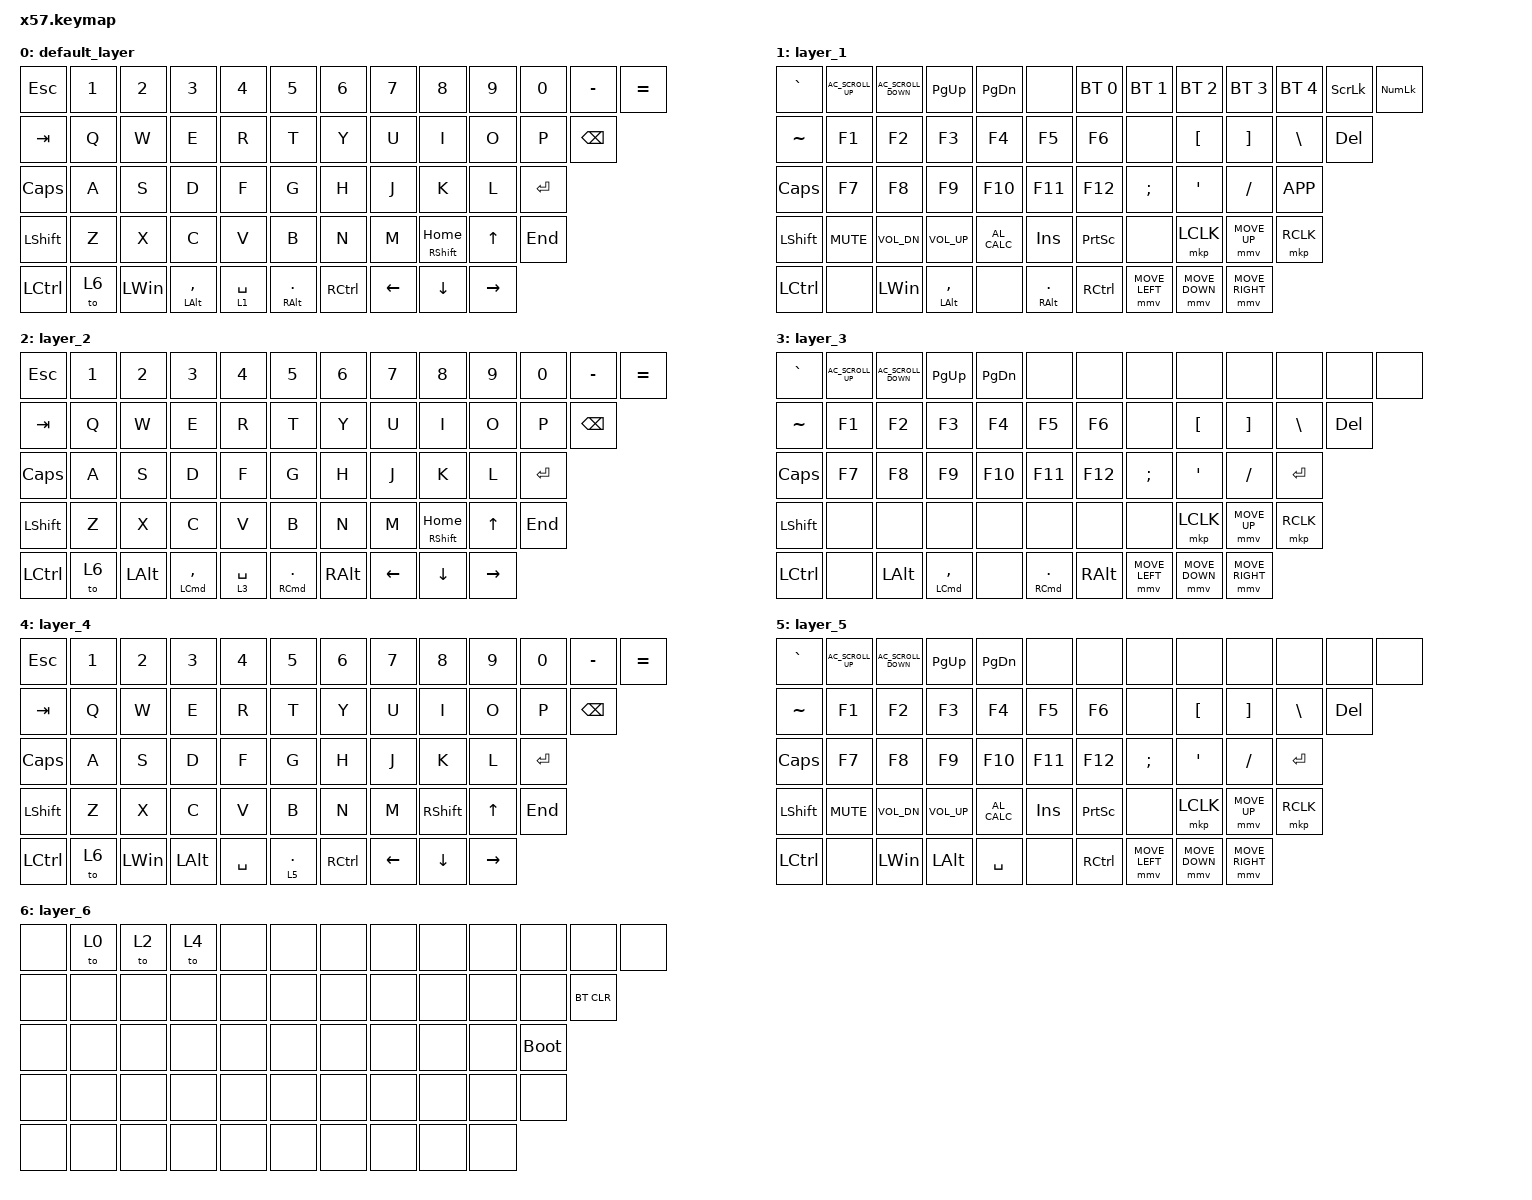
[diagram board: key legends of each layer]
#include <dt-bindings/zmk/mouse.h>

//#include <dt-bindings/zmk/rgb.h>
//#include <dt-bindings/zmk/outputs.h>
//#include <dt-bindings/zmk/ext_power.h>

#include <behaviors.dtsi>
#include <dt-bindings/zmk/bt.h>
#include <dt-bindings/zmk/keys.h>
#include <dt-bindings/zmk/pointing.h>

/ {
    keymap {
        compatible = "zmk,keymap";

        default_layer {
            bindings = <
&kp ESC    &kp N1  &kp N2    &kp N3          &kp N4       &kp N5        &kp N6     &kp N7    &kp N8          &kp N9     &kp N0     &kp MINUS  &kp EQUAL
&kp TAB    &kp Q   &kp W     &kp E           &kp R        &kp T         &kp Y      &kp U     &kp I           &kp O      &kp P      &kp BSPC
&kp CAPS   &kp A   &kp S     &kp D           &kp F        &kp G         &kp H      &kp J     &kp K           &kp L      &kp ENTER
&kp LSHFT  &kp Z   &kp X     &kp C           &kp V        &kp B         &kp N      &kp M     &mt RSHFT HOME  &kp UP     &kp END
&kp LCTRL  &to 6   &kp LWIN  &mt LALT COMMA  &lt 1 SPACE  &mt RALT DOT  &kp RCTRL  &kp LEFT  &kp DOWN        &kp RIGHT
            >;
        };

        layer_1 {
            bindings = <
&kp GRAVE  &kp C_AC_SCROLL_UP  &kp C_AC_SCROLL_DOWN  &kp PG_UP       &kp PG_DN      &none         &bt BT_SEL 0  &bt BT_SEL 1    &bt BT_SEL 2    &bt BT_SEL 3     &bt BT_SEL 4  &kp SLCK  &kp KP_NUM
&kp TILDE  &kp F1              &kp F2                &kp F3          &kp F4         &kp F5        &kp F6        &none           &kp LBKT        &kp RBKT         &kp BSLH      &kp DEL
&kp CAPS   &kp F7              &kp F8                &kp F9          &kp F10        &kp F11       &kp F12       &kp SEMI        &kp SQT         &kp SLASH        &kp K_APP
&kp LSHFT  &kp C_MUTE          &kp C_VOL_DN          &kp C_VOL_UP    &kp C_AL_CALC  &kp INS       &kp PSCRN     &none           &mkp LCLK       &mmv MOVE_UP     &mkp RCLK
&kp LCTRL  &none               &kp LWIN              &mt LALT COMMA  &none          &mt RALT DOT  &kp RCTRL     &mmv MOVE_LEFT  &mmv MOVE_DOWN  &mmv MOVE_RIGHT
            >;
        };

        layer_2 {
            bindings = <
&kp ESC    &kp N1  &kp N2    &kp N3          &kp N4       &kp N5        &kp N6    &kp N7    &kp N8          &kp N9     &kp N0     &kp MINUS  &kp EQUAL
&kp TAB    &kp Q   &kp W     &kp E           &kp R        &kp T         &kp Y     &kp U     &kp I           &kp O      &kp P      &kp BSPC
&kp CAPS   &kp A   &kp S     &kp D           &kp F        &kp G         &kp H     &kp J     &kp K           &kp L      &kp ENTER
&kp LSHFT  &kp Z   &kp X     &kp C           &kp V        &kp B         &kp N     &kp M     &mt RSHFT HOME  &kp UP     &kp END
&kp LCTRL  &to 6   &kp LALT  &mt LCMD COMMA  &lt 3 SPACE  &mt RCMD DOT  &kp RALT  &kp LEFT  &kp DOWN        &kp RIGHT
            >;
        };

        layer_3 {
            bindings = <
&kp GRAVE  &kp C_AC_SCROLL_UP  &kp C_AC_SCROLL_DOWN  &kp PG_UP       &kp PG_DN  &none         &none     &none           &none           &none            &none      &none    &none
&kp TILDE  &kp F1              &kp F2                &kp F3          &kp F4     &kp F5        &kp F6    &none           &kp LBKT        &kp RBKT         &kp BSLH   &kp DEL
&kp CAPS   &kp F7              &kp F8                &kp F9          &kp F10    &kp F11       &kp F12   &kp SEMI        &kp SQT         &kp SLASH        &kp ENTER
&kp LSHFT  &none               &none                 &none           &none      &none         &none     &none           &mkp LCLK       &mmv MOVE_UP     &mkp RCLK
&kp LCTRL  &none               &kp LALT              &mt LCMD COMMA  &none      &mt RCMD DOT  &kp RALT  &mmv MOVE_LEFT  &mmv MOVE_DOWN  &mmv MOVE_RIGHT
            >;
        };

        layer_4 {
            bindings = <
&kp ESC    &kp N1  &kp N2    &kp N3    &kp N4     &kp N5     &kp N6     &kp N7    &kp N8     &kp N9     &kp N0     &kp MINUS  &kp EQUAL
&kp TAB    &kp Q   &kp W     &kp E     &kp R      &kp T      &kp Y      &kp U     &kp I      &kp O      &kp P      &kp BSPC
&kp CAPS   &kp A   &kp S     &kp D     &kp F      &kp G      &kp H      &kp J     &kp K      &kp L      &kp ENTER
&kp LSHFT  &kp Z   &kp X     &kp C     &kp V      &kp B      &kp N      &kp M     &kp RSHFT  &kp UP     &kp END
&kp LCTRL  &to 6   &kp LWIN  &kp LALT  &kp SPACE  &lt 5 DOT  &kp RCTRL  &kp LEFT  &kp DOWN   &kp RIGHT
            >;
        };

        layer_5 {
            bindings = <
&kp GRAVE  &kp C_AC_SCROLL_UP  &kp C_AC_SCROLL_DOWN  &kp PG_UP     &kp PG_DN      &none    &none      &none           &none           &none            &none      &none    &none
&kp TILDE  &kp F1              &kp F2                &kp F3        &kp F4         &kp F5   &kp F6     &none           &kp LBKT        &kp RBKT         &kp BSLH   &kp DEL
&kp CAPS   &kp F7              &kp F8                &kp F9        &kp F10        &kp F11  &kp F12    &kp SEMI        &kp SQT         &kp SLASH        &kp ENTER
&kp LSHFT  &kp C_MUTE          &kp C_VOL_DN          &kp C_VOL_UP  &kp C_AL_CALC  &kp INS  &kp PSCRN  &none           &mkp LCLK       &mmv MOVE_UP     &mkp RCLK
&kp LCTRL  &none               &kp LWIN              &kp LALT      &kp SPACE      &none    &kp RCTRL  &mmv MOVE_LEFT  &mmv MOVE_DOWN  &mmv MOVE_RIGHT
            >;
        };

        layer_6 {
            bindings = <
&none  &to 0  &to 2  &to 4  &none  &none  &none  &none  &none  &none  &none  &none  &none
&none  &none  &none  &none  &none  &none  &none  &none  &none  &none  &none  &bt BT_CLR
&none  &none  &none  &none  &none  &none  &none  &none  &none  &none  &bootloader
&none  &none  &none  &none  &none  &none  &none  &none  &none  &none  &none
&none  &none  &none  &none  &none  &none  &none  &none  &none  &none
            >;
        };
    };
};
